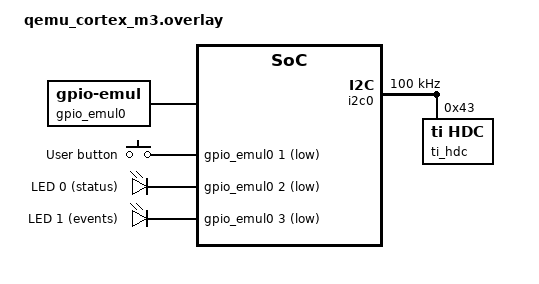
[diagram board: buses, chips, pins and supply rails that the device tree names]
/**
 * Workshop board overlay for qemu_cortex_m3.
 *
 * - HDC1010 sensor on emulated I2C bus (for sensor samples)
 * - Button sw0 and LED aliases on emulated GPIOs (for component tests)
 */

#include <zephyr/dt-bindings/gpio/gpio.h>
#include <zephyr/dt-bindings/i2c/i2c.h>

/ {
	aliases {
		sw0 = &button0;
		led0 = &led0;
		led1 = &led1;
	};

	gpio_emul0: gpio-emul0 {
		compatible = "zephyr,gpio-emul";
		status = "okay";
		rising-edge;
		falling-edge;
		gpio-controller;
		#gpio-cells = <2>;
	};

	buttons {
		compatible = "gpio-keys";
		button0: button_0 {
			gpios = <&gpio_emul0 1 GPIO_ACTIVE_LOW>;
			label = "User button";
		};
	};

	leds {
		compatible = "gpio-leds";
		led0: led_0 {
			gpios = <&gpio_emul0 2 GPIO_ACTIVE_LOW>;
			label = "LED 0 (status)";
		};
		led1: led_1 {
			gpios = <&gpio_emul0 3 GPIO_ACTIVE_LOW>;
			label = "LED 1 (events)";
		};
	};

	i2c0: i2c@100 {
		compatible = "zephyr,i2c-emul-controller";
		reg = <0x100 4>;
		status = "okay";
		clock-frequency = <I2C_BITRATE_STANDARD>;
		#address-cells = <1>;
		#size-cells = <0>;
		#forward-cells = <1>;

		ti_hdc: ti_hdc@43 {
			compatible = "ti,hdc";
			reg = <0x43>;
			status = "okay";
		};
	};
};
